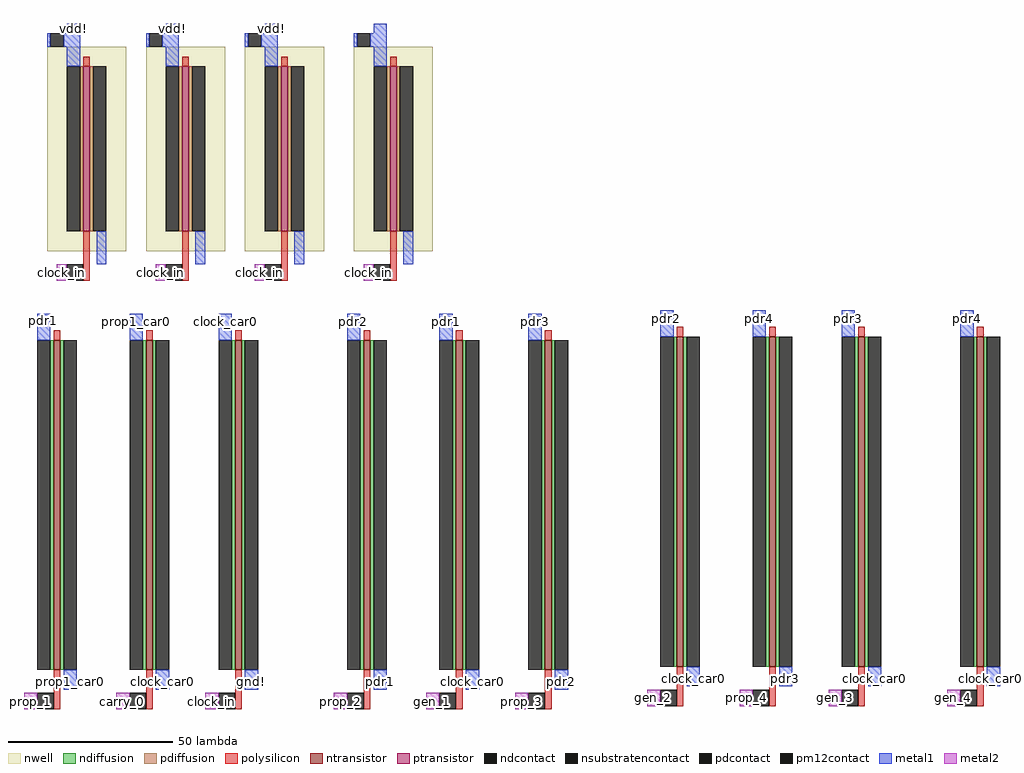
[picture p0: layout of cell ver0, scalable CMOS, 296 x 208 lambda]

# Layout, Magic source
magic
tech scmos
<< nwell >>
rect 852 143 876 205
rect 882 143 906 205
rect 912 143 936 205
rect 945 143 969 205
<< ntransistor >>
rect 854 16 856 116
rect 882 16 884 116
rect 909 16 911 116
rect 948 16 950 116
rect 976 16 978 116
rect 1003 16 1005 116
rect 1043 17 1045 117
rect 1071 17 1073 117
rect 1098 17 1100 117
rect 1134 17 1136 117
<< ptransistor >>
rect 863 149 865 199
rect 893 149 895 199
rect 923 149 925 199
rect 956 149 958 199
<< ndiffusion >>
rect 853 16 854 116
rect 856 16 857 116
rect 881 16 882 116
rect 884 16 885 116
rect 908 16 909 116
rect 911 16 912 116
rect 947 16 948 116
rect 950 16 951 116
rect 975 16 976 116
rect 978 16 979 116
rect 1002 16 1003 116
rect 1005 16 1006 116
rect 1042 17 1043 117
rect 1045 17 1046 117
rect 1070 17 1071 117
rect 1073 17 1074 117
rect 1097 17 1098 117
rect 1100 17 1101 117
rect 1133 17 1134 117
rect 1136 17 1137 117
<< pdiffusion >>
rect 862 149 863 199
rect 865 149 866 199
rect 892 149 893 199
rect 895 149 896 199
rect 922 149 923 199
rect 925 149 926 199
rect 955 149 956 199
rect 958 149 959 199
<< ndcontact >>
rect 849 16 853 116
rect 857 16 861 116
rect 877 16 881 116
rect 885 16 889 116
rect 904 16 908 116
rect 912 16 916 116
rect 943 16 947 116
rect 951 16 955 116
rect 971 16 975 116
rect 979 16 983 116
rect 998 16 1002 116
rect 1006 16 1010 116
rect 1038 17 1042 117
rect 1046 17 1050 117
rect 1066 17 1070 117
rect 1074 17 1078 117
rect 1093 17 1097 117
rect 1101 17 1105 117
rect 1129 17 1133 117
rect 1137 17 1141 117
<< pdcontact >>
rect 858 149 862 199
rect 866 149 870 199
rect 888 149 892 199
rect 896 149 900 199
rect 918 149 922 199
rect 926 149 930 199
rect 951 149 955 199
rect 959 149 963 199
<< nsubstratencontact >>
rect 853 205 857 209
rect 883 205 887 209
rect 913 205 917 209
rect 946 205 950 209
<< polysilicon >>
rect 863 199 865 202
rect 893 199 895 202
rect 923 199 925 202
rect 956 199 958 202
rect 863 134 865 149
rect 893 134 895 149
rect 923 134 925 149
rect 956 134 958 149
rect 854 116 856 119
rect 882 116 884 119
rect 909 116 911 119
rect 948 116 950 119
rect 976 116 978 119
rect 1003 116 1005 119
rect 1043 117 1045 120
rect 1071 117 1073 120
rect 1098 117 1100 120
rect 1134 117 1136 120
rect 854 4 856 16
rect 882 4 884 16
rect 909 4 911 16
rect 948 4 950 16
rect 976 4 978 16
rect 1003 4 1005 16
rect 1043 5 1045 17
rect 1071 5 1073 17
rect 1098 5 1100 17
rect 1134 5 1136 17
<< metal1 >>
rect 858 209 862 212
rect 888 209 892 212
rect 918 209 922 212
rect 951 209 955 212
rect 852 205 853 209
rect 857 205 862 209
rect 882 205 883 209
rect 887 205 892 209
rect 912 205 913 209
rect 917 205 922 209
rect 945 205 946 209
rect 950 205 955 209
rect 858 199 862 205
rect 888 199 892 205
rect 918 199 922 205
rect 951 199 955 205
rect 867 139 870 149
rect 897 139 900 149
rect 927 139 930 149
rect 960 139 963 149
rect 849 116 853 124
rect 877 116 881 124
rect 904 116 908 124
rect 943 116 947 124
rect 971 116 975 124
rect 998 116 1002 124
rect 1038 117 1042 125
rect 1066 117 1070 125
rect 1093 117 1097 125
rect 1129 117 1133 125
rect 857 10 861 16
rect 885 10 889 16
rect 912 10 916 16
rect 951 10 955 16
rect 979 10 983 16
rect 1006 10 1010 16
rect 1046 11 1050 17
rect 1074 11 1078 17
rect 1101 11 1105 17
rect 1137 11 1141 17
<< pm12contact >>
rect 858 134 863 139
rect 888 134 893 139
rect 918 134 923 139
rect 951 134 956 139
rect 849 4 854 9
rect 877 4 882 9
rect 904 4 909 9
rect 943 4 948 9
rect 971 4 976 9
rect 998 4 1003 9
rect 1038 5 1043 10
rect 1066 5 1071 10
rect 1093 5 1098 10
rect 1129 5 1134 10
<< metal2 >>
rect 855 134 858 139
rect 885 134 888 139
rect 915 134 918 139
rect 948 134 951 139
rect 845 4 849 9
rect 873 4 877 9
rect 900 4 904 9
rect 939 4 943 9
rect 967 4 971 9
rect 994 4 998 9
rect 1034 5 1038 10
rect 1062 5 1066 10
rect 1089 5 1093 10
rect 1125 5 1129 10
<< labels >>
rlabel metal1 858 209 862 212 5 vdd!
rlabel metal1 888 209 892 212 5 vdd!
rlabel metal1 918 209 922 212 5 vdd!
rlabel metal2 855 134 858 139 2 clock_in
rlabel metal2 885 134 888 139 1 clock_in
rlabel metal2 915 134 918 139 1 clock_in
rlabel metal2 948 134 951 139 1 clock_in
rlabel metal1 867 139 870 142 1 pdr1
rlabel metal1 897 139 900 142 1 pdr2
rlabel metal1 927 139 930 142 1 pdr3
rlabel metal1 960 139 963 142 1 pdr4
rlabel metal1 849 120 853 124 1 pdr1
rlabel metal2 845 4 849 9 2 prop_1
rlabel metal1 857 10 861 15 1 prop1_car0
rlabel metal1 877 119 881 124 1 prop1_car0
rlabel metal2 873 4 877 9 1 carry_0
rlabel metal1 885 10 889 15 1 clock_car0
rlabel metal1 904 119 908 124 1 clock_car0
rlabel metal2 900 4 904 9 1 clock_in
rlabel metal1 912 10 916 15 1 gnd!
rlabel metal1 943 119 947 124 1 pdr2
rlabel metal2 939 4 943 9 1 prop_2
rlabel metal1 951 10 955 15 1 pdr1
rlabel metal1 971 119 975 124 1 pdr1
rlabel metal2 967 4 971 9 1 gen_1
rlabel metal1 979 10 983 15 1 clock_car0
rlabel metal1 998 119 1002 124 1 pdr3
rlabel metal2 994 4 998 9 1 prop_3
rlabel metal1 1006 10 1010 15 1 pdr2
rlabel metal1 1038 120 1042 125 1 pdr2
rlabel metal2 1034 5 1038 10 1 gen_2
rlabel metal1 1046 11 1050 16 1 clock_car0
rlabel metal1 1066 120 1070 125 1 pdr4
rlabel metal2 1062 5 1066 10 1 prop_4
rlabel metal1 1074 11 1078 16 1 pdr3
rlabel metal1 1093 120 1097 125 1 pdr3
rlabel metal2 1089 5 1093 10 1 gen_3
rlabel metal1 1101 11 1105 16 1 clock_car0
rlabel metal1 1129 120 1133 125 1 pdr4
rlabel metal2 1125 5 1129 10 1 gen_4
rlabel metal1 1137 11 1141 16 7 clock_car0
<< end >>
